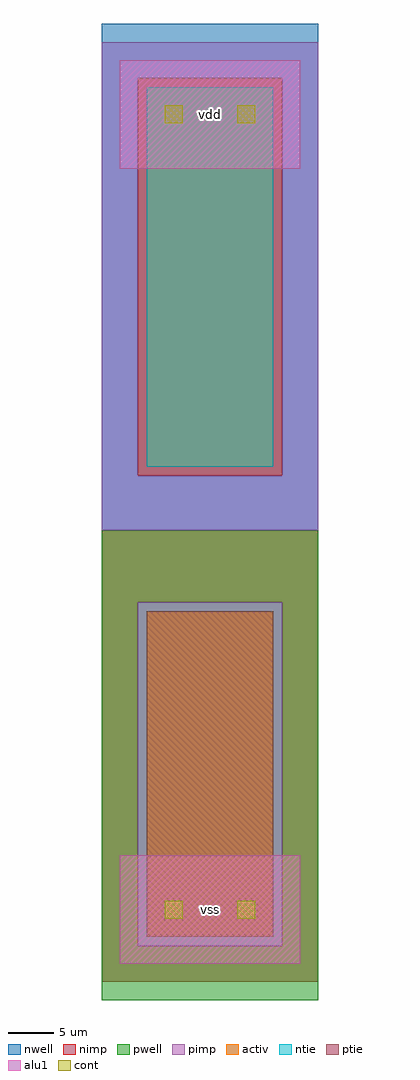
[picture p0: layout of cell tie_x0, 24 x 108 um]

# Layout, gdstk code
import gdstk
lib = gdstk.Library(unit=1e-6, precision=1e-09)
def R(c, l, rs):  # rectangles x0, y0, x1, y1
    for r in rs: c.add(gdstk.rectangle(r[:2], r[2:], *l))
ntie = (5, 0)
ptie = (6, 0)
cont = (25, 0)
pwell = (41, 0)
nwell = (42, 0)
activ = (43, 0)
pimp = (44, 0)
nimp = (45, 0)
alu1 = (49, 0)

tie_x0 = lib.new_cell('tie_x0')
R(tie_x0, ntie, [(3,55,17,97)])
R(tie_x0, ptie, [(3,3,17,39)])
R(tie_x0, cont, [(5,5,7,7), (13,5,15,7), (5,93,7,95), (13,93,15,95)])
R(tie_x0, pwell, [(-2,-4,22,48)])
R(tie_x0, nwell, [(-2,48,22,104)])
R(tie_x0, activ, [(3,3,17,39), (3,55,17,97)])
R(tie_x0, pimp, [(2,2,18,40), (-2,48,22,54), (-2,54,2,98), (18,54,22,98), (-2,98,22,102)])
R(tie_x0, nimp, [(-2,-2,22,2), (-2,2,2,40), (18,2,22,40), (-2,40,22,48), (2,54,18,98)])
R(tie_x0, alu1, [(0,0,20,12), (0,88,20,100)])
tie_x0.add(gdstk.Label('vss', (10,6), layer=49, texttype=0))
tie_x0.add(gdstk.Label('vdd', (10,94), layer=49, texttype=0))

lib.write_gds('tie_x0.gds')
